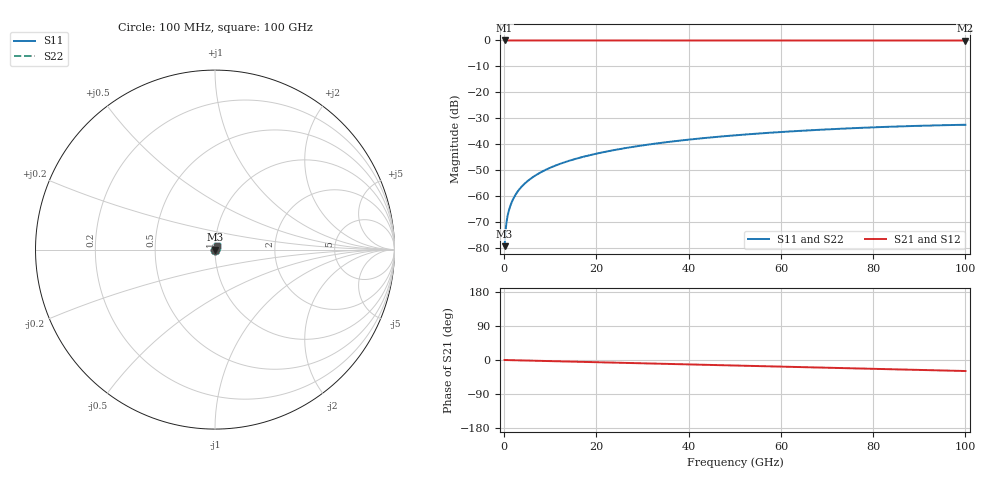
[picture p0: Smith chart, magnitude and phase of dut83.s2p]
! Touchstone file exported from HFSS 2026.1.0
!  File:  C:/ffzhzh/LocalFiles/Ansys_Project_Files/temp_train_TSV_83_1783505482_9504.aedt
!  Generated:  06:12:33 PM Jul  8, 2026
!  Design:  TSV
!  Project:  temp_train_TSV_83_1783505482_9504
! Variables:
!  h_bsmrdl = 2um
!  h_ox = 20um
!  h_rdl = 5um
!  h_sub = 54.32um
!  h_tmrdl = 5um
!  h_tsv = 54.32um
!  h_via = 3um
!  l_bsmrdl = 300um
!  l_sub = 421.06um
!  l_tmrdl = 200um
!  m_sub = 200um
!  pitch = 44.92um
!  r_tsv = 10.53um
!  s_tmrdl = 10um
!  w_bsmrdl = 18um
!  w_sub = 500um
!  w_tmrdl = 12um
!  x_tsv_center1 = 206um
!  x_tsv_center2 = 524um
!  x_tsv_center3 = 736um
!  x_tsv_center4 = 1054um
!  x_tsv_center5 = 1266um
!  x_tsv_center6 = 1584um
# GHz S MA R 50.000000
! Terminal data exported
! Port[1] = TSV1_1_T1
! Port[2] = TSV1_1_T2
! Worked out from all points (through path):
!   1000 points, 100 MHz to 100 GHz, reference 50 ohm
!   highest |S21| = 0.00 dB at 100 MHz (marker M1); lowest = 0.0 dB at 100 GHz (marker M2)
!   group delay of S21, straight-line fit = 807 fs
!   lowest |S11| = -79.2 dB at 100 MHz (marker M3), VSWR 1.00, Z = 50 + j0.00637 ohm
!   |S11| at or under -10 dB: start of sweep to end of sweep
!   |S22| runs from -79.2 to -32.5 dB; largest |S21 - S12| = 2.1e-15
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0.1  0.0001098 35.5  0.9999 -0.0  0.9999 -0.0  0.0001098 35.5
! Gamma 0 0 0 0
! Port Impedance 50 0 50 0
0.4  0.0002642 60.8  0.9999 -0.1  0.9999 -0.1  0.0002642 60.8
0.7  0.0004011 64.7  0.9998 -0.2  0.9998 -0.2  0.0004011 64.7
0.8  0.0004427 65.5  0.9998 -0.2  0.9998 -0.2  0.0004427 65.5
1.1  0.0005623 67.6  0.9998 -0.3  0.9998 -0.3  0.0005623 67.6
1.4  0.0006782 69.2  0.9998 -0.4  0.9998 -0.4  0.0006782 69.2
1.9  0.0008665 71.0  0.9997 -0.6  0.9997 -0.6  0.0008666 71.0
2.5  0.001085 72.3  0.9997 -0.7  0.9997 -0.7  0.001085 72.3
3.2  0.001332 73.4  0.9996 -0.9  0.9996 -0.9  0.001332 73.4
4  0.001605 74.3  0.9996 -1.2  0.9996 -1.2  0.001605 74.3
5  0.001938 75.1  0.9995 -1.5  0.9995 -1.5  0.001938 75.1
6.2  0.002333 75.8  0.9995 -1.8  0.9995 -1.8  0.002333 75.8
9  0.003237 76.6  0.9994 -2.6  0.9994 -2.6  0.003237 76.6
12.5  0.00434 76.7  0.9993 -3.6  0.9993 -3.6  0.00434 76.7
16.8  0.00566 76.5  0.9991 -4.9  0.9991 -4.9  0.00566 76.5
24.2  0.007872 75.6  0.999 -7.0  0.999 -7.0  0.007872 75.6
33.4  0.01052 73.9  0.9988 -9.7  0.9988 -9.7  0.01052 73.9
41.2  0.01266 72.1  0.9986 -12.0  0.9986 -12.0  0.01266 72.1
50.1  0.01495 70.0  0.9984 -14.5  0.9984 -14.5  0.01495 70.0
66.7  0.01874 65.7  0.9981 -19.4  0.9981 -19.4  0.01875 65.7
83.4  0.02181 61.1  0.9978 -24.2  0.9978 -24.2  0.02181 61.1
100  0.02385 56.6  0.9975 -29.1  0.9975 -29.1  0.02385 56.5
